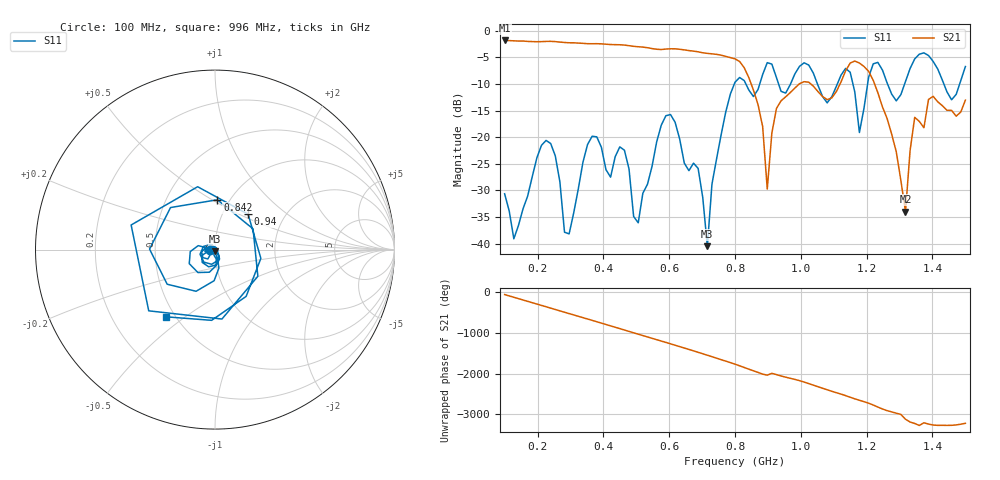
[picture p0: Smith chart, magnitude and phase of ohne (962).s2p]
! NanoVNA-App
! Date: 2025-09-25 14:28:17
! Start: 100MHz Stop: 1,5GHz Points: 101
! S-Parameter data: F S11 S21 S12 S22
# Hz S RI R 50
!  Frequency  S11_Real  S11_Imag  S21_Real  S21_Imag  S12_Real  S12_Imag  S22_Real  S22_Imag
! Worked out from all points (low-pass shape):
!   101 points, 100 MHz to 1.5 GHz, reference 50 ohm
!   highest |S21| = -1.79 dB at 100 MHz (marker M1); lowest = -34.0 dB at 1.318 GHz (marker M2)
!   |S21| within 3 dB of the highest: start of sweep to 771.9 MHz
!   lowest |S11| = -40.5 dB at 716 MHz (marker M3), VSWR 1.02, Z = 49.7 - j0.903 ohm
!   |S11| at or under -10 dB: start of sweep to 797.8 MHz; 833.2 MHz to 875.1 MHz (41.9 MHz wide, 4.91 % of centre); 1.051 GHz to 1.111 GHz (60.19 MHz wide, 5.57 % of centre) (the widest 3 of 7)
!   S12 and S22 are empty: the file has one direction only
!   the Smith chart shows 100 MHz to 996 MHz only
!   S11 on the Smith chart (normalised r, x): 100 MHz: 0.94, -0.01; 842 MHz: 0.88, +0.53; 940 MHz: 1.32, +0.56; 996 MHz: 0.44, -0.42
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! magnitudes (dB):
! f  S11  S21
! 100 MHz  -30.6  -1.8
! 128 MHz  -39.1  -1.9
! 226 MHz  -20.6  -2.0
! 296 MHz  -38.2  -2.2
! 338 MHz  -24.7  -2.3
! 464 MHz  -22.4  -2.7
! 506 MHz  -36.1  -3.0
! 576 MHz  -17.7  -3.5
! 688 MHz  -25.9  -3.9
! 716 MHz  -40.5  -4.2
! 800 MHz  -9.7  -5.3
! 842 MHz  -11.1  -8.8
! 898 MHz  -6.0  -29.8
! 940 MHz  -11.4  -13.1
! 996 MHz  -6.7  -9.9
! 1.038 GHz  -7.9  -10.4
! 1.178 GHz  -19.1  -6.0
! 1.22 GHz  -6.2  -9.3
! 1.276 GHz  -11.9  -19.4
! 1.318 GHz  -9.5  -34.0
! 1.346 GHz  -5.3  -16.3
! 1.5 GHz  -6.7  -13.0
